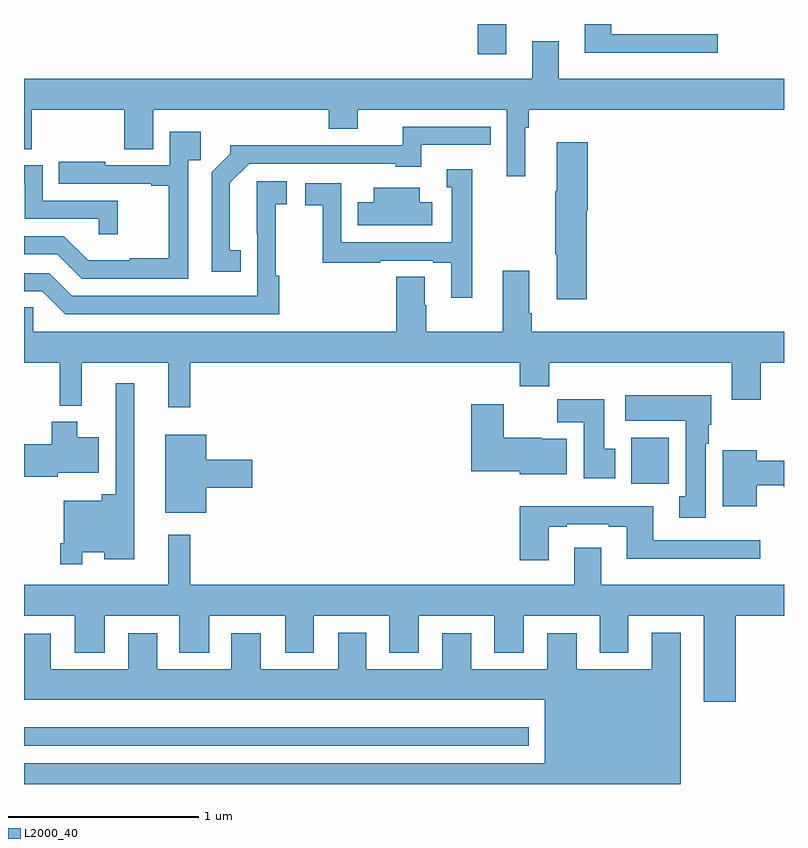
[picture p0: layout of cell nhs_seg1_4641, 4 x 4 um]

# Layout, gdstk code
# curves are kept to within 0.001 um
import gdstk
lib = gdstk.Library(unit=1e-6, precision=1e-09)
def R(c, l, rs):  # rectangles x0, y0, x1, y1
    for r in rs: c.add(gdstk.rectangle(r[:2], r[2:], *l))
def P(c, l, *ps):  # polygons
    for p in ps: c.add(gdstk.Polygon(p, *l))
L2000_40 = (2000, 40)

nhs_seg1_4641 = lib.new_cell('nhs_seg1_4641')
R(nhs_seg1_4641, L2000_40, [(363,532.401,365.656,532.498), (366.197,533.78,366.394,534.022), (365.387,536.04,365.539,536.199)])
P(nhs_seg1_4641, L2000_40, [(366.652,536.145),(366.091,536.145),(366.091,536.199),(365.951,536.199),(365.951,536.048),(366.652,536.048)],
  [(365.638,535.652),(365.657,535.652),(365.657,535.748),(367,535.748),(367,535.912),(365.815,535.912),(365.815,536.107),(365.675,536.107),(365.675,535.912),(363,535.912),(363,535.54),(363.041,535.54),(363.041,535.748),(363.527,535.748),(363.527,535.54),(363.679,535.54),(363.679,535.748),(364.604,535.748),(364.604,535.649),(364.756,535.649),(364.756,535.748),(365.541,535.748),(365.541,535.398),(365.638,535.398)],
  [(364.142,535.007),(364.084,535.007),(364.084,535.363),(364.185,535.464),(364.956,535.464),(364.956,535.448),(365.092,535.448),(365.092,535.563),(365.456,535.563),(365.456,535.659),(364.993,535.659),(364.993,535.56),(364.52,535.56),(364.52,535.562),(364.086,535.562),(364.086,535.517),(363.987,535.418),(363.987,534.894),(364.142,534.894)],
  [(363.864,535.481),(363.929,535.481),(363.929,535.633),(363.768,535.633),(363.768,535.455),(363.427,535.455),(363.427,535.474),(363.184,535.474),(363.184,535.359),(363.671,535.359),(363.671,535.347),(363.763,535.347),(363.763,534.967),(363.557,534.967),(363.557,534.955),(363.338,534.955),(363.21,535.083),(363,535.083),(363,534.987),(363.174,534.987),(363.303,534.858),(363.864,534.858)],
  [(365.963,535.218),(365.968,535.218),(365.968,535.576),(365.804,535.576),(365.804,535.318),(365.797,535.318),(365.797,534.988),(365.804,534.988),(365.804,534.75),(365.963,534.75)],
  [(363.494,535.269),(363.099,535.269),(363.099,535.455),(363,535.455),(363,535.359),(363.003,535.359),(363.003,535.173),(363.393,535.173),(363.393,535.092),(363.494,535.092)],
  [(365.359,535.435),(365.225,535.435),(365.225,535.341),(365.25,535.341),(365.25,535.05),(364.671,535.05),(364.671,535.362),(364.479,535.362),(364.479,535.246),(364.573,535.246),(364.573,534.942),(364.874,534.942),(364.874,534.954),(365.153,534.954),(365.153,534.942),(365.249,534.942),(365.249,534.759),(365.359,534.759)],
  [(364.343,534.875),(364.326,534.875),(364.326,535.251),(364.384,535.251),(364.384,535.372),(364.226,535.372),(364.227,534.768),(363.252,534.768),(363.132,534.888),(363,534.888),(363,534.792),(363.096,534.792),(363.216,534.672),(364.343,534.672)],
  [(365.149,535.261),(365.083,535.261),(365.083,535.336),(364.841,535.336),(364.841,535.261),(364.756,535.261),(364.756,535.139),(365.149,535.139)],
  [(363.875,534.416),(365.609,534.416),(365.609,534.292),(365.765,534.292),(365.765,534.416),(366.725,534.416),(366.725,534.222),(366.878,534.222),(366.878,534.416),(367,534.416),(367,534.58),(365.672,534.58),(365.672,534.676),(365.659,534.676),(365.659,534.901),(365.519,534.901),(365.519,534.58),(365.118,534.58),(365.118,534.719),(365.11,534.719),(365.11,534.869),(364.958,534.869),(364.958,534.58),(363.048,534.58),(363.048,534.707),(363,534.707),(363,534.416),(363.187,534.416),(363.187,534.191),(363.305,534.191),(363.305,534.416),(363.758,534.416),(363.758,534.183),(363.875,534.183)],
  [(363.306,533.42),(363.422,533.42),(363.422,533.381),(363.58,533.381),(363.58,534.307),(363.483,534.307),(363.483,533.725),(363.41,533.725),(363.41,533.689),(363.21,533.689),(363.21,533.467),(363.19,533.467),(363.19,533.355),(363.306,533.355)],
  [(366.589,533.99),(366.604,533.99),(366.604,534.09),(366.616,534.09),(366.616,534.244),(366.165,534.244),(366.165,534.11),(366.482,534.11),(366.482,533.714),(366.449,533.714),(366.449,533.601),(366.589,533.601)],
  [(366.112,533.964),(366.055,533.964),(366.055,534.223),(365.806,534.223),(365.806,534.104),(365.945,534.104),(365.945,533.808),(366.112,533.808)],
  [(365.857,534.016),(365.724,534.016),(365.724,534.022),(365.524,534.022),(365.524,534.199),(365.354,534.199),(365.354,533.846),(365.61,533.846),(365.61,533.828),(365.857,533.828)],
  [(363.178,533.837),(363.394,533.837),(363.394,534.025),(363.28,534.025),(363.28,534.106),(363.146,534.106),(363.146,533.988),(363,533.988),(363,533.816),(363.178,533.816)],
  [(363.958,533.759),(364.201,533.759),(364.201,533.906),(363.958,533.906),(363.958,534.037),(363.743,534.037),(363.743,533.627),(363.958,533.627)],
  [(366.856,533.772),(366.999,533.772),(366.999,533.764),(367,533.764),(367,533.9),(366.856,533.9),(366.856,533.956),(366.677,533.956),(366.677,533.66),(366.856,533.66)],
  [(365.761,533.553),(365.857,533.553),(365.857,533.565),(366.077,533.565),(366.077,533.553),(366.173,533.553),(366.173,533.384),(366.874,533.384),(366.874,533.481),(366.313,533.481),(366.313,533.662),(365.609,533.662),(365.609,533.376),(365.761,533.376)],
  [(366.037,533.443),(365.897,533.443),(365.897,533.248),(363.875,533.248),(363.875,533.512),(363.758,533.512),(363.758,533.248),(363,533.248),(363,533.084),(363.266,533.084),(363.266,532.89),(363.424,532.89),(363.424,533.084),(363.818,533.084),(363.818,532.89),(363.976,532.89),(363.976,533.084),(364.376,533.084),(364.376,532.89),(364.525,532.89),(364.525,533.084),(364.922,533.084),(364.922,532.89),(365.077,532.89),(365.077,533.084),(365.474,533.084),(365.474,532.89),(365.629,532.89),(365.629,533.084),(366.029,533.084),(366.029,532.89),(366.181,532.89),(366.181,533.084),(366.578,533.084),(366.578,532.632),(366.746,532.632),(366.746,533.084),(367,533.084),(367,533.248),(366.037,533.248)],
  [(366.457,532.996),(366.305,532.996),(366.305,532.804),(365.908,532.804),(365.908,532.993),(365.753,532.993),(365.753,532.804),(365.353,532.804),(365.353,532.993),(365.201,532.993),(365.201,532.804),(364.801,532.804),(364.801,532.996),(364.655,532.996),(364.655,532.804),(364.246,532.804),(364.246,532.993),(364.091,532.993),(364.091,532.804),(363.7,532.804),(363.7,532.993),(363.548,532.993),(363.548,532.804),(363.142,532.804),(363.142,532.99),(363,532.99),(363,532.643),(365.741,532.643),(365.741,532.309),(363,532.309),(363,532.199),(366.457,532.199)])

lib.write_gds('nhs_seg1_4641.gds')
